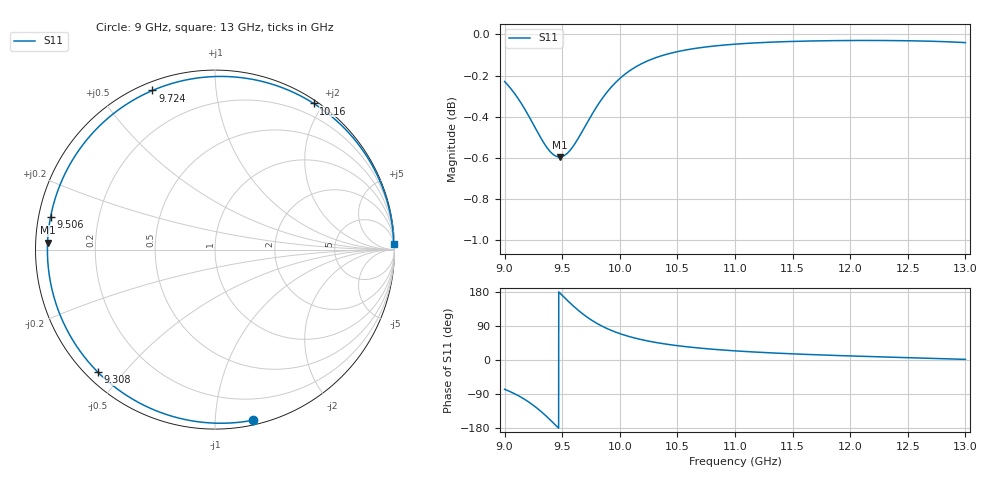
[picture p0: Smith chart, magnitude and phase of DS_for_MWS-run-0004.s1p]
! TOUCHSTONE file generated by CST DESIGN STUDIO
! Date and time: Tue Feb  4 16:21:46 2025
! Project name: C:\Work\MatlabApps\UnitCellOptimizationMatlab\CST\unitcell.cst
! Tree item: Tasks\Sweep1\SPara1\S-Parameters
! Header version: 2024
! Port assignment regex: !\s*Touchstone port\s*([0-9]+)\s*=\s*(CST MWS port|CST DES external port|CST DES block port)\s*(.+)\s* \(\"(.*)\"\)(\s*mode\s*([0-9]+))?.*
! Touchstone port assignment:
! Touchstone port 1 = CST DES external port 1 ("")
# GHz S MA R 50
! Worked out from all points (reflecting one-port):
!   4001 points, 9 GHz to 13 GHz, reference 50 ohm
!   lowest |S11| = -0.6 dB at 9.477 GHz (marker M1), VSWR 29.18, Z = 1.71 + j1.05 ohm
!   phase of S11 starts at -77 deg and turns -281 deg over the sweep
!   S11 on the Smith chart (normalised r, x): 9 GHz: 0.03, -1.25; 9.308 GHz: 0.03, -0.43; 9.506 GHz: 0.03, +0.10; 9.724 GHz: 0.04, +0.68; 10.16 GHz: 0.04, +1.88; 13 GHz: 11, +68
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9  0.974 -77.3
9.077  0.9683 -87.6
9.175  0.9591 -104.0
9.244  0.9515 -118.3
9.308  0.9444 -133.7
9.352  0.94 -145.5
9.399  0.9363 -158.9
9.439  0.9344 -170.9
9.477  0.9337 177.6
9.5  0.934 170.6
9.506  0.9341 168.8
9.558  0.9365 153.4
9.618  0.9414 136.7
9.67  0.9468 123.6
9.724  0.9526 111.5
9.779  0.9584 100.6
9.84  0.9642 90.2
9.918  0.9704 79.1
10  0.9756 69.6
10.156  0.9827 56.0
10.312  0.9871 46.3
10.5  0.9904 37.8
10.722  0.9928 30.6
11  0.9946 24.1
11.5  0.9961 16.2
12  0.9966 10.7
12.5  0.9965 6.2
13  0.9954 1.7
